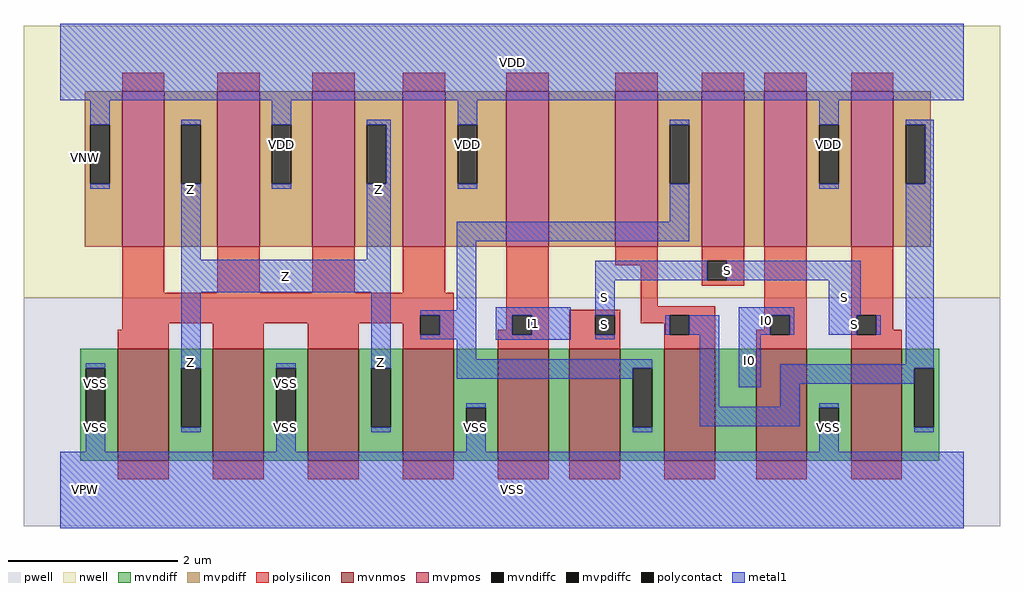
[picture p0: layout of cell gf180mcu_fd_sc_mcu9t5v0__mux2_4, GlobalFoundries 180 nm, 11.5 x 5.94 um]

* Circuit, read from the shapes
.subckt gf180mcu_fd_sc_mcu9t5v0__mux2_4 I0 I1 S Z VDD VNW VPW VSS
XM1 Z n1 VSS VPW nfet_06v0 w=1.32u l=0.6u m=4
XM2 n2 I1 VSS VPW nfet_06v0 w=1.32u l=0.6u
XM3 n1 S n2 VPW nfet_06v0 w=1.32u l=0.6u
XM4 n3 n4 n1 VPW nfet_06v0 w=1.32u l=0.6u
XM5 VSS I0 n3 VPW nfet_06v0 w=1.32u l=0.6u
XM6 n4 S VSS VPW nfet_06v0 w=1.32u l=0.6u
XM7 Z n1 VDD VNW pfet_06v0 w=1.83u l=0.5u m=4
XM8 n5 I1 VDD VNW pfet_06v0 w=1.83u l=0.5u
XM9 n1 n4 n5 VNW pfet_06v0 w=1.83u l=0.5u
XM10 n6 S n1 VNW pfet_06v0 w=1.83u l=0.5u
XM11 VDD I0 n6 VNW pfet_06v0 w=1.83u l=0.5u
XM12 n4 S VDD VNW pfet_06v0 w=1.83u l=0.5u
.ends

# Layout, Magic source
magic
tech gf180mcuD
magscale 1 10
<< nwell >>
rect -86 453 2214 1094
<< pwell >>
rect -86 -86 2214 453
<< mvnmos >>
rect 135 69 255 333
rect 359 69 479 333
rect 583 69 703 333
rect 807 69 927 333
rect 1031 69 1151 333
rect 1199 69 1319 333
rect 1423 69 1543 333
rect 1639 69 1759 333
rect 1863 69 1983 333
<< mvpmos >>
rect 145 573 245 939
rect 369 573 469 939
rect 593 573 693 939
rect 807 573 907 939
rect 1051 573 1151 939
rect 1307 573 1407 939
rect 1511 573 1611 939
rect 1659 573 1759 939
rect 1863 573 1963 939
<< mvndiff >>
rect 47 287 135 333
rect 47 147 60 287
rect 106 147 135 287
rect 47 69 135 147
rect 255 287 359 333
rect 255 147 284 287
rect 330 147 359 287
rect 255 69 359 147
rect 479 287 583 333
rect 479 147 508 287
rect 554 147 583 287
rect 479 69 583 147
rect 703 287 807 333
rect 703 147 732 287
rect 778 147 807 287
rect 703 69 807 147
rect 927 193 1031 333
rect 927 147 956 193
rect 1002 147 1031 193
rect 927 69 1031 147
rect 1151 69 1199 333
rect 1319 287 1423 333
rect 1319 147 1348 287
rect 1394 147 1423 287
rect 1319 69 1423 147
rect 1543 69 1639 333
rect 1759 193 1863 333
rect 1759 147 1788 193
rect 1834 147 1863 193
rect 1759 69 1863 147
rect 1983 287 2071 333
rect 1983 147 2012 287
rect 2058 147 2071 287
rect 1983 69 2071 147
<< mvpdiff >>
rect 57 861 145 939
rect 57 721 70 861
rect 116 721 145 861
rect 57 573 145 721
rect 245 861 369 939
rect 245 721 284 861
rect 330 721 369 861
rect 245 573 369 721
rect 469 861 593 939
rect 469 721 498 861
rect 544 721 593 861
rect 469 573 593 721
rect 693 861 807 939
rect 693 721 722 861
rect 768 721 807 861
rect 693 573 807 721
rect 907 861 1051 939
rect 907 721 936 861
rect 982 721 1051 861
rect 907 573 1051 721
rect 1151 573 1307 939
rect 1407 861 1511 939
rect 1407 721 1436 861
rect 1482 721 1511 861
rect 1407 573 1511 721
rect 1611 573 1659 939
rect 1759 861 1863 939
rect 1759 721 1788 861
rect 1834 721 1863 861
rect 1759 573 1863 721
rect 1963 861 2051 939
rect 1963 721 1992 861
rect 2038 721 2051 861
rect 1963 573 2051 721
<< mvndiffc >>
rect 60 147 106 287
rect 284 147 330 287
rect 508 147 554 287
rect 732 147 778 287
rect 956 147 1002 193
rect 1348 147 1394 287
rect 1788 147 1834 193
rect 2012 147 2058 287
<< mvpdiffc >>
rect 70 721 116 861
rect 284 721 330 861
rect 498 721 544 861
rect 722 721 768 861
rect 936 721 982 861
rect 1436 721 1482 861
rect 1788 721 1834 861
rect 1992 721 2038 861
<< polysilicon >>
rect 145 939 245 983
rect 369 939 469 983
rect 593 939 693 983
rect 807 939 907 983
rect 1051 939 1151 983
rect 1307 939 1407 983
rect 1511 939 1611 983
rect 1659 939 1759 983
rect 1863 939 1963 983
rect 145 464 245 573
rect 369 464 469 573
rect 593 464 693 573
rect 807 464 907 573
rect 145 412 927 464
rect 145 393 848 412
rect 145 377 255 393
rect 135 333 255 377
rect 359 333 479 393
rect 583 333 703 393
rect 807 366 848 393
rect 894 366 927 412
rect 1051 412 1151 573
rect 1307 529 1407 573
rect 1367 433 1407 529
rect 1511 540 1611 573
rect 1511 494 1524 540
rect 1570 494 1611 540
rect 1511 481 1611 494
rect 1051 377 1064 412
rect 807 333 927 366
rect 1031 366 1064 377
rect 1110 366 1151 412
rect 1031 333 1151 366
rect 1199 412 1319 425
rect 1199 366 1260 412
rect 1306 366 1319 412
rect 1367 412 1543 433
rect 1367 393 1436 412
rect 1199 333 1319 366
rect 1423 366 1436 393
rect 1482 366 1543 412
rect 1659 412 1759 573
rect 1659 377 1672 412
rect 1423 333 1543 366
rect 1639 366 1672 377
rect 1718 366 1759 412
rect 1639 333 1759 366
rect 1863 412 1963 573
rect 1863 366 1876 412
rect 1922 377 1963 412
rect 1922 366 1983 377
rect 1863 333 1983 366
rect 135 25 255 69
rect 359 25 479 69
rect 583 25 703 69
rect 807 25 927 69
rect 1031 25 1151 69
rect 1199 25 1319 69
rect 1423 25 1543 69
rect 1639 25 1759 69
rect 1863 25 1983 69
<< polycontact >>
rect 848 366 894 412
rect 1524 494 1570 540
rect 1064 366 1110 412
rect 1260 366 1306 412
rect 1436 366 1482 412
rect 1672 366 1718 412
rect 1876 366 1922 412
<< metal1 >>
rect 0 918 2128 1098
rect 70 861 116 918
rect 70 710 116 721
rect 284 861 330 872
rect 284 542 330 721
rect 498 861 544 918
rect 498 710 544 721
rect 722 861 778 872
rect 768 721 778 861
rect 722 542 778 721
rect 936 861 982 918
rect 936 710 982 721
rect 1436 861 1482 872
rect 1436 632 1482 721
rect 1788 861 1834 918
rect 1788 710 1834 721
rect 1992 861 2058 872
rect 2038 721 2058 861
rect 284 466 778 542
rect 60 287 106 298
rect 60 90 106 147
rect 284 287 330 466
rect 284 136 330 147
rect 508 287 554 298
rect 508 90 554 147
rect 732 287 778 466
rect 934 586 1482 632
rect 934 423 980 586
rect 1260 494 1524 540
rect 1570 494 1886 540
rect 848 412 980 423
rect 894 366 980 412
rect 848 355 980 366
rect 934 308 980 355
rect 1026 412 1202 430
rect 1026 366 1064 412
rect 1110 366 1202 412
rect 1026 354 1202 366
rect 1260 412 1306 494
rect 1598 412 1729 430
rect 1425 366 1436 412
rect 1482 366 1552 412
rect 1260 355 1306 366
rect 934 287 1394 308
rect 934 262 1348 287
rect 732 136 778 147
rect 956 193 1002 204
rect 956 90 1002 147
rect 1506 196 1552 366
rect 1598 366 1672 412
rect 1718 366 1729 412
rect 1810 412 1886 494
rect 1810 366 1876 412
rect 1922 366 1933 412
rect 1598 242 1650 366
rect 1992 296 2058 721
rect 1696 287 2058 296
rect 1696 250 2012 287
rect 1696 196 1742 250
rect 1506 150 1742 196
rect 1788 193 1834 204
rect 1348 136 1394 147
rect 1788 90 1834 147
rect 2012 136 2058 147
rect 0 -90 2128 90
<< labels >>
flabel metal1 s 1598 366 1729 430 0 FreeSans 200 0 0 0 I0
port 1 nsew default input
flabel metal1 s 1026 354 1202 430 0 FreeSans 200 0 0 0 I1
port 2 nsew default input
flabel metal1 s 1260 494 1886 540 0 FreeSans 200 0 0 0 S
port 3 nsew default input
flabel metal1 s 0 918 2128 1098 0 FreeSans 200 0 0 0 VDD
port 5 nsew power bidirectional abutment
flabel metal1 s 508 204 554 298 0 FreeSans 200 0 0 0 VSS
port 8 nsew ground bidirectional abutment
flabel metal1 s 722 542 778 872 0 FreeSans 200 0 0 0 Z
port 4 nsew default output
flabel nwell s 10 734 110 834 0 FreeSans 400 0 0 0 VNW
port 6 nsew power bidirectional
flabel pwell s 10 -50 110 50 0 FreeSans 400 0 0 0 VPW
port 7 nsew ground bidirectional
rlabel metal1 s 1598 242 1650 366 1 I0
port 1 nsew default input
rlabel metal1 s 1810 412 1886 494 1 S
port 3 nsew default input
rlabel metal1 s 1260 412 1306 494 1 S
port 3 nsew default input
rlabel metal1 s 1810 366 1933 412 1 S
port 3 nsew default input
rlabel metal1 s 1260 366 1306 412 1 S
port 3 nsew default input
rlabel metal1 s 1260 355 1306 366 1 S
port 3 nsew default input
rlabel metal1 s 284 542 330 872 1 Z
port 4 nsew default output
rlabel metal1 s 284 466 778 542 1 Z
port 4 nsew default output
rlabel metal1 s 732 136 778 466 1 Z
port 4 nsew default output
rlabel metal1 s 284 136 330 466 1 Z
port 4 nsew default output
rlabel metal1 s 1788 710 1834 918 1 VDD
port 5 nsew power bidirectional abutment
rlabel metal1 s 936 710 982 918 1 VDD
port 5 nsew power bidirectional abutment
rlabel metal1 s 498 710 544 918 1 VDD
port 5 nsew power bidirectional abutment
rlabel metal1 s 70 710 116 918 1 VDD
port 5 nsew power bidirectional abutment
rlabel metal1 s 60 204 106 298 1 VSS
port 8 nsew ground bidirectional abutment
rlabel metal1 s 1788 90 1834 204 1 VSS
port 8 nsew ground bidirectional abutment
rlabel metal1 s 956 90 1002 204 1 VSS
port 8 nsew ground bidirectional abutment
rlabel metal1 s 508 90 554 204 1 VSS
port 8 nsew ground bidirectional abutment
rlabel metal1 s 60 90 106 204 1 VSS
port 8 nsew ground bidirectional abutment
rlabel metal1 s 0 -90 2128 90 1 VSS
port 8 nsew ground bidirectional abutment
<< properties >>
string FIXED_BBOX 0 0 2128 1008
string GDS_END 5780
string GDS_FILE $PDKPATH/libs.ref/gf180mcu_fd_sc_mcu9t5v0/gds/gf180mcu_fd_sc_mcu9t5v0.gds
string GDS_START 146
string LEFclass core
string LEFsite GF018hv5v_green_sc9
string LEFsymmetry X Y
<< end >>
